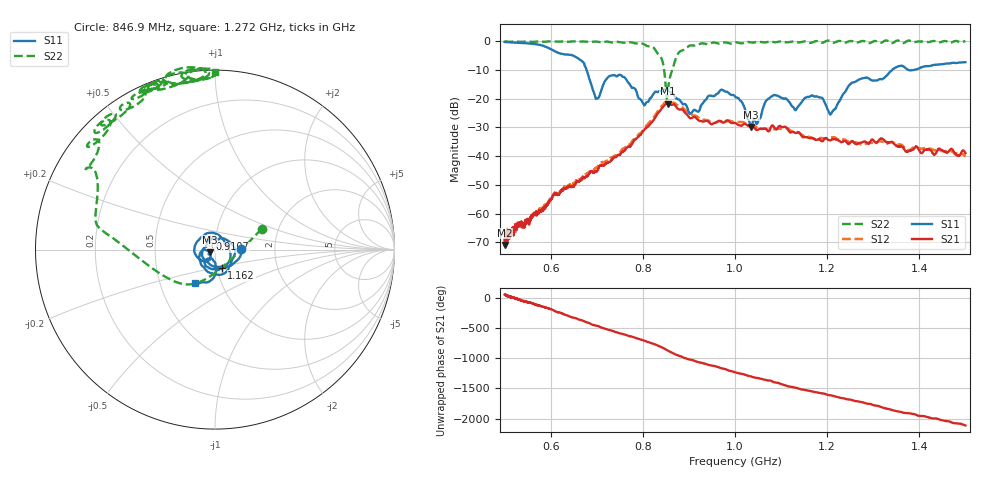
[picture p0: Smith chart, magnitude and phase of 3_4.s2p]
!Agilent Technologies,E8364B,US42250235,A.06.04.32
!Agilent E8364B: A.06.04.32
!Date: Thursday, October 01, 2020 16:03:33
!Correction: S11(Full 2 Port(1,2)) S21(Full 2 Port(1,2)) S12(Full 2 Port(1,2)) S22(Full 2 Port(1,2))
!S2P File: Measurements: S11, S21, S12, S22:
# Hz S  dB  R 50
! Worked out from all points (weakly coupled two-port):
!   2650 points, 500 MHz to 1.5 GHz, reference 50 ohm
!   highest |S21| = -21.73 dB at 853.7 MHz (marker M1); lowest = -70.9 dB at 500 MHz (marker M2)
!   lowest |S11| = -29.9 dB at 1.035 GHz (marker M3), VSWR 1.07, Z = 47.2 - j1.39 ohm
!   |S11| at or under -10 dB: 677.9 MHz to 1.341 GHz (662.9 MHz wide, 65.7 % of centre); 1.376 GHz to 1.387 GHz (10.55 MHz wide, 0.764 % of centre)
!   |S22| runs from -20.0 to 0.3 dB; largest |S21 - S12| = 0.024
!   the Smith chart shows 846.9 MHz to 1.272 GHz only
!   S11 on the Smith chart (normalised r, x): 846.9 MHz: 1.34, +0.01; 910.7 MHz: 0.94, +0.11; 1.162 GHz: 1.06, -0.22; 1.272 GHz: 0.75, -0.30
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5e8  -0.25 -175.3  -70.94 57.3  -71.33 53.2  -0.02 143.5
5.856927e8  -1.70 128.5  -58.06 -149.9  -57.94 -149.0  -0.21 129.7
6.668554e8  -6.79 63.3  -48.30 -8.3  -47.84 -6.1  -0.09 124.8
7.000755e8  -19.93 74.3  -45.37 -100.3  -43.98 -88.8  -0.11 122.2
7.344281e8  -11.81 80.9  -41.00 173.6  -40.36 -176.4  -0.37 111.1
8.023783e8  -22.17 33.6  -30.98 14.0  -30.46 30.6  -1.02 98.6
8.337108e8  -17.60 24.2  -24.92 -72.9  -24.09 -57.8  -4.67 53.2
8.469234e8  -16.74 0.8  -22.22 -120.9  -21.41 -106.3  -10.93 23.9
8.537184e8  -16.90 -19.8  -21.73 -150.6  -20.96 -136.6  -18.34 -84.0
8.778784e8  -20.21 -85.7  -23.72 123.8  -22.50 137.9  -3.94 170.6
9.10721e8  -23.91 114.9  -26.31 41.8  -25.82 53.4  -1.50 146.2
1.000189e9  -19.24 -137.0  -28.44 -151.9  -28.19 -131.8  -0.43 120.6
1.035296e9  -29.88 -152.7  -29.39 136.8  -28.96 151.5  -0.43 118.2
1.081351e9  -19.01 -165.9  -29.30 53.8  -30.69 68.3  -0.20 114.3
1.130804e9  -24.00 35.5  -31.92 -48.8  -31.55 -32.9  -0.16 112.1
1.162137e9  -19.22 -69.5  -33.76 -101.3  -33.36 -89.0  -0.53 108.3
1.166667e9  -18.85 -79.1  -33.63 -108.8  -33.65 -97.3  -0.46 101.7
1.208569e9  -25.22 -105.5  -34.38 -176.2  -33.64 -162.3  -0.17 106.1
1.271989e9  -13.15 -121.2  -35.36 76.5  -35.78 85.2  -0.10 89.9
1.333522e9  -11.16 -138.5  -35.25 -41.9  -35.39 -17.4  -0.03 98.4
1.372027e9  -9.56 -178.2  -38.44 -109.3  -37.65 -90.4  -0.06 75.3
1.5e9  -7.29 139.7  -38.93 44.9  -40.06 65.0  0.14 72.0
